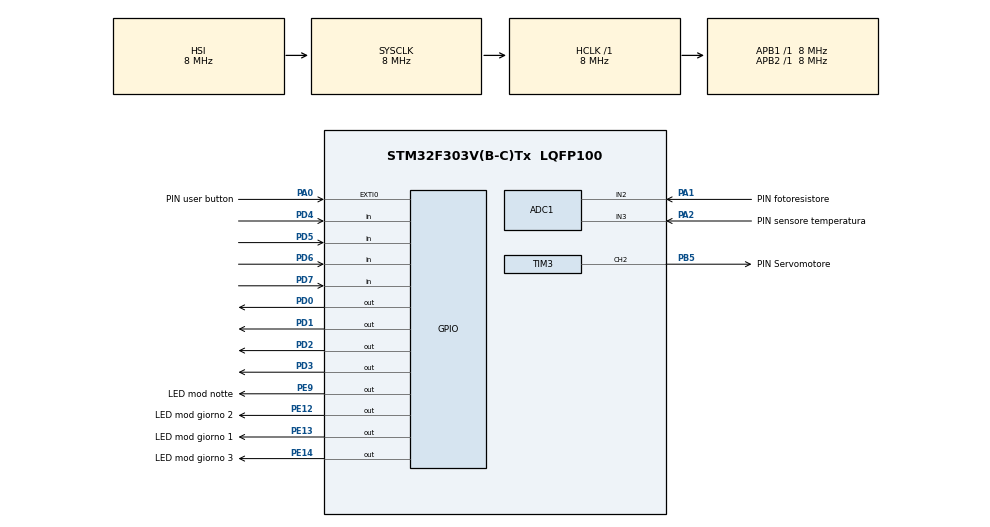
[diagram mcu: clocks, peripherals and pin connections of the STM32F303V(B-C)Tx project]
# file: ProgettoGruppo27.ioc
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ADC1.Channel-0\#ChannelRegularConversion=ADC_CHANNEL_2
ADC1.NbrOfConversionFlag=1
ADC1.Offset-0\#ChannelRegularConversion=0
ADC1.OffsetNumber-0\#ChannelRegularConversion=ADC_OFFSET_NONE
ADC1.Rank-0\#ChannelRegularConversion=1
ADC1.SamplingTime-0\#ChannelRegularConversion=ADC_SAMPLETIME_1CYCLE_5
ADC1.master=1
Mcu.Family=STM32F3
Mcu.Name=STM32F303V(B-C)Tx
Mcu.Package=LQFP100
NVIC.EXTI0_IRQn=true\:0\:0\:false\:false\:true\:true\:true\:true
NVIC.PriorityGroup=NVIC_PRIORITYGROUP_4
PA0.GPIO_Label=PIN user button
PA0.GPIO_ModeDefaultEXTI=GPIO_MODE_IT_RISING
PA0.Signal=GPXTI0
PA1.GPIO_Label=PIN fotoresistore
PA1.Mode=IN2-Single-Ended
PA1.Signal=ADC1_IN2
PA2.GPIO_Label=PIN sensore temperatura
PA2.Mode=IN3-Single-Ended
PA2.Signal=ADC1_IN3
PB5.GPIO_Label=PIN Servomotore
PB5.Signal=S_TIM3_CH2
PD0.PinState=GPIO_PIN_SET
PD0.Signal=GPIO_Output
PD1.PinState=GPIO_PIN_SET
PD1.Signal=GPIO_Output
PD2.PinState=GPIO_PIN_SET
PD2.Signal=GPIO_Output
PD3.PinState=GPIO_PIN_SET
PD3.Signal=GPIO_Output
PD4.GPIO_PuPd=GPIO_PULLUP
PD4.Signal=GPIO_Input
PD5.GPIO_PuPd=GPIO_PULLUP
PD5.Signal=GPIO_Input
PD6.GPIO_PuPd=GPIO_PULLUP
PD6.Signal=GPIO_Input
PD7.GPIO_PuPd=GPIO_PULLUP
PD7.Signal=GPIO_Input
PE12.GPIO_Label=LED mod giorno 2
PE12.Signal=GPIO_Output
PE13.GPIO_Label=LED mod giorno 1
PE13.Signal=GPIO_Output
PE14.GPIO_Label=LED mod giorno 3
PE14.Signal=GPIO_Output
PE9.GPIO_Label=LED mod notte
PE9.PinState=GPIO_PIN_SET
PE9.Signal=GPIO_Output
ProjectManager.HeapSize=0x200
ProjectManager.StackSize=0x400
ProjectManager.TargetToolchain=STM32CubeIDE
RCC.AHBFreq_Value=8000000
RCC.APB1Freq_Value=8000000
RCC.APB2Freq_Value=8000000
RCC.CortexFreq_Value=8000000
RCC.HSE_VALUE=8000000
RCC.HSI_VALUE=8000000
RCC.LSE_VALUE=32768
RCC.PLLMUL=RCC_PLL_MUL4
RCC.SYSCLKFreq_VALUE=8000000
RCC.USBFreq_Value=16000000
SH.S_TIM3_CH2.0=TIM3_CH2,PWM Generation2 CH2
TIM3.Channel-PWM\ Generation2\ CH2=TIM_CHANNEL_2
TIM3.Period=1999
TIM3.Prescaler=79
VP_TIM3_VS_ClockSourceINT.Mode=Internal
board=custom

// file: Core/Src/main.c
/* USER CODE BEGIN Header */
/**
  ******************************************************************************
  * @file           : main.c
  * @brief          : Main program body
  ******************************************************************************
  * @attention
  *
  * Copyright (c) 2026 STMicroelectronics.
  * All rights reserved.
  *
  * This software is licensed under terms that can be found in the LICENSE file
  * in the root directory of this software component.
  * If no LICENSE file comes with this software, it is provided AS-IS.
  *
  ******************************************************************************
  */
/* USER CODE END Header */
#include "main.h"

/* USER CODE BEGIN Includes */
#include "stdio.h"
#include "math.h"
/* USER CODE END Includes */

ADC_HandleTypeDef hadc1;

TIM_HandleTypeDef htim3;

/* USER CODE BEGIN PV */
uint32_t valore_luce = 0;
uint32_t valore_temperatura = 0;
float temperatura_celsius = 0.0f;
float valore_celsius = 0.0f;

// La variabile "stato" deve essere 'volatile' perché viene modificata asincronamente dall'interrupt
volatile uint8_t stato = 0;
/* USER CODE END PV */

void SystemClock_Config(void);
static void MX_GPIO_Init(void);
static void MX_ADC1_Init(void);
static void MX_TIM3_Init(void);
/* USER CODE BEGIN PFP */
void ADC_Select_Channel(uint32_t channel);
char Scansiona_Tastierino(void);
/* USER CODE END PFP */

int main(void)
{

  /* MCU Configuration--------------------------------------------------------*/

  /* Reset of all peripherals, Initializes the Flash interface and the Systick. */
  HAL_Init();

  /* Configure the system clock */
  SystemClock_Config();

  /* Initialize all configured peripherals */
  MX_GPIO_Init();
  MX_ADC1_Init();
  MX_TIM3_Init();
  /* USER CODE BEGIN 2 */
  HAL_TIM_PWM_Start(&htim3, TIM_CHANNEL_2);

  uint32_t tick_precedente_sensori = 0;
  uint32_t tick_precedente_tastierino = 0;

  char tasto_rilevato = '\0';
  /* USER CODE END 2 */

  /* Infinite loop */
  /* USER CODE BEGIN WHILE */
  while (1)
  {
      uint32_t tick_attuale = HAL_GetTick();

      // ====================================================================
      // LETTURA SENSORI OGNI 500ms)
      // ====================================================================
      if (tick_attuale - tick_precedente_sensori >= 500)
      {
          tick_precedente_sensori = tick_attuale;

          //Lettura del fotoresistore (Canale 2 su PA1)
          ADC_Select_Channel(ADC_CHANNEL_2);
          HAL_ADC_Start(&hadc1);
          HAL_ADC_PollForConversion(&hadc1, 10);
          valore_luce = HAL_ADC_GetValue(&hadc1);
          HAL_ADC_Stop(&hadc1);

          //Lettura del sensore di temperatura (Canale 3 su PA2)
          ADC_Select_Channel(ADC_CHANNEL_3);
          HAL_ADC_Start(&hadc1);
          HAL_ADC_PollForConversion(&hadc1, 10);
          valore_temperatura = HAL_ADC_GetValue(&hadc1);
          HAL_ADC_Stop(&hadc1);

          //Conversione della temperatura
          if (valore_temperatura > 0 && valore_temperatura < 4095)
          {
              float resistenza = 47000.0f * ((float)valore_temperatura / (4095.0f - (float)valore_temperatura));
              float log_resistenza = logf(resistenza / 10000.0f);
              float kelvin = 1.0f / ((1.0f / 298.15f) + (log_resistenza / 3950.0f));
              temperatura_celsius = kelvin - 273.15f;
          }
          else if (valore_temperatura == 0)
          {
              temperatura_celsius = 999.0f; // Errore sensore
          }
          else
          {
              temperatura_celsius = -273.15f; // Cavo scollegato
          }
      }

      // ====================================================================
      // GESTIONE AUTOMATICA (MOD 0)
      // ====================================================================
      if (stato == 0)
      {
          // Controllo LED basato sulla luce
          if (valore_luce > 1500)
          {
              HAL_GPIO_WritePin(GPIOE, LED_mod_notte_Pin, GPIO_PIN_SET);        // LED Nord Acceso (Spia Buio)
              HAL_GPIO_WritePin(GPIOE, LED_mod_giorno_1_Pin, GPIO_PIN_RESET);  // LED Sud Spento
              HAL_GPIO_WritePin(GPIOE, LED_mod_giorno_2_Pin, GPIO_PIN_RESET);  // LED Sud-Est Spento
              HAL_GPIO_WritePin(GPIOE, LED_mod_giorno_3_Pin, GPIO_PIN_RESET);  // LED Sud-Ovest Spento
          }
          else
          {
              HAL_GPIO_WritePin(GPIOE, LED_mod_notte_Pin, GPIO_PIN_RESET);     // LED Nord Spento
              HAL_GPIO_WritePin(GPIOE, LED_mod_giorno_1_Pin, GPIO_PIN_SET);    // LED Sud Acceso
              HAL_GPIO_WritePin(GPIOE, LED_mod_giorno_2_Pin, GPIO_PIN_SET);    // LED Sud-Est Acceso
              HAL_GPIO_WritePin(GPIOE, LED_mod_giorno_3_Pin, GPIO_PIN_SET);    // LED Sud-Ovest Acceso
          }

          // Controllo Climatizzazione basato sulla temperatura
          if (temperatura_celsius > 0 && temperatura_celsius < 27)
          {
              __HAL_TIM_SET_COMPARE(&htim3, TIM_CHANNEL_2, 200);   // Riscaldamento ON (Servo a 180°)
          }
          else if (temperatura_celsius > 30)
          {
              __HAL_TIM_SET_COMPARE(&htim3, TIM_CHANNEL_2, 100);   // Raffrescamento ON (Servo a 0°)
          }
      }
      // ====================================================================
      // GESTIONE MANUALE (MOD 1)
      // ====================================================================
      else
      {
          // Scansiona il tastierino ogni 50ms
          if (tick_attuale - tick_precedente_tastierino >= 50)
          {
              tick_precedente_tastierino = tick_attuale;
              tasto_rilevato = Scansiona_Tastierino();

              if (tasto_rilevato != '\0')
              {
                  switch (tasto_rilevato)
                  {
                      case '1': // Accende/Spegne LED Nord
                          HAL_GPIO_TogglePin(GPIOE, LED_mod_notte_Pin);
                          break;
                      case '2': // Accende/Spegne LED Sud
                          HAL_GPIO_TogglePin(GPIOE, LED_mod_giorno_1_Pin);
                          break;
                      case '3': // Accende/Spegne LED Sud-Est
                          HAL_GPIO_TogglePin(GPIOE, LED_mod_giorno_2_Pin);
                          break;
                      case '4': // Accende/Spegne LED Sud-Ovest
                          HAL_GPIO_TogglePin(GPIOE, LED_mod_giorno_3_Pin);
                          break;
                      case '5': // Spegne tutto
                          HAL_GPIO_WritePin(GPIOE, LED_mod_notte_Pin | LED_mod_giorno_1_Pin |
                                                   LED_mod_giorno_2_Pin | LED_mod_giorno_3_Pin, GPIO_PIN_RESET);
                          break;
                      case '6': // Accende tutto
                          HAL_GPIO_WritePin(GPIOE, LED_mod_notte_Pin | LED_mod_giorno_1_Pin |
                                                   LED_mod_giorno_2_Pin | LED_mod_giorno_3_Pin, GPIO_PIN_SET);
                          break;
                      case '7': // accnedi climatizzatore CALDO
                          __HAL_TIM_SET_COMPARE(&htim3, TIM_CHANNEL_2, 100);
                          break;
                      case '9': // accendi climatizzatore FREDDO
                          __HAL_TIM_SET_COMPARE(&htim3, TIM_CHANNEL_2, 200);
                          break;
                      default:
                          break;
                  }
              }
          }
      }
  }
  /* USER CODE END WHILE */

}

void SystemClock_Config(void)
{
  RCC_OscInitTypeDef RCC_OscInitStruct = {0};
  RCC_ClkInitTypeDef RCC_ClkInitStruct = {0};
  RCC_PeriphCLKInitTypeDef PeriphClkInit = {0};

  /** Initializes the RCC Oscillators according to the specified parameters
  * in the RCC_OscInitTypeDef structure.
  */
  RCC_OscInitStruct.OscillatorType = RCC_OSCILLATORTYPE_HSI;
  RCC_OscInitStruct.HSIState = RCC_HSI_ON;
  RCC_OscInitStruct.HSICalibrationValue = RCC_HSICALIBRATION_DEFAULT;
  RCC_OscInitStruct.PLL.PLLState = RCC_PLL_ON;
  RCC_OscInitStruct.PLL.PLLSource = RCC_PLLSOURCE_HSI;
  RCC_OscInitStruct.PLL.PLLMUL = RCC_PLL_MUL4;
  if (HAL_RCC_OscConfig(&RCC_OscInitStruct) != HAL_OK)
  {
    Error_Handler();
  }

  /** Initializes the CPU, AHB and APB buses clocks
  */
  RCC_ClkInitStruct.ClockType = RCC_CLOCKTYPE_HCLK|RCC_CLOCKTYPE_SYSCLK
                              |RCC_CLOCKTYPE_PCLK1|RCC_CLOCKTYPE_PCLK2;
  RCC_ClkInitStruct.SYSCLKSource = RCC_SYSCLKSOURCE_HSI;
  RCC_ClkInitStruct.AHBCLKDivider = RCC_SYSCLK_DIV1;
  RCC_ClkInitStruct.APB1CLKDivider = RCC_HCLK_DIV1;
  RCC_ClkInitStruct.APB2CLKDivider = RCC_HCLK_DIV1;

  if (HAL_RCC_ClockConfig(&RCC_ClkInitStruct, FLASH_LATENCY_0) != HAL_OK)
  {
    Error_Handler();
  }
  PeriphClkInit.PeriphClockSelection = RCC_PERIPHCLK_ADC12;
  PeriphClkInit.Adc12ClockSelection = RCC_ADC12PLLCLK_DIV1;
  if (HAL_RCCEx_PeriphCLKConfig(&PeriphClkInit) != HAL_OK)
  {
    Error_Handler();
  }
}

static void MX_ADC1_Init(void)
{

  ADC_MultiModeTypeDef multimode = {0};
  ADC_ChannelConfTypeDef sConfig = {0};

  /** Common config
  */
  hadc1.Instance = ADC1;
  hadc1.Init.ClockPrescaler = ADC_CLOCK_ASYNC_DIV1;
  hadc1.Init.Resolution = ADC_RESOLUTION_12B;
  hadc1.Init.ScanConvMode = ADC_SCAN_DISABLE;
  hadc1.Init.ContinuousConvMode = DISABLE;
  hadc1.Init.DiscontinuousConvMode = DISABLE;
  hadc1.Init.ExternalTrigConvEdge = ADC_EXTERNALTRIGCONVEDGE_NONE;
  hadc1.Init.ExternalTrigConv = ADC_SOFTWARE_START;
  hadc1.Init.DataAlign = ADC_DATAALIGN_RIGHT;
  hadc1.Init.NbrOfConversion = 1;
  hadc1.Init.DMAContinuousRequests = DISABLE;
  hadc1.Init.EOCSelection = ADC_EOC_SINGLE_CONV;
  hadc1.Init.LowPowerAutoWait = DISABLE;
  hadc1.Init.Overrun = ADC_OVR_DATA_OVERWRITTEN;
  if (HAL_ADC_Init(&hadc1) != HAL_OK)
  {
    Error_Handler();
  }

  /** Configure the ADC multi-mode
  */
  multimode.Mode = ADC_MODE_INDEPENDENT;
  if (HAL_ADCEx_MultiModeConfigChannel(&hadc1, &multimode) != HAL_OK)
  {
    Error_Handler();
  }

  /** Configure Regular Channel
  */
  sConfig.Channel = ADC_CHANNEL_2;
  sConfig.Rank = ADC_REGULAR_RANK_1;
  sConfig.SingleDiff = ADC_SINGLE_ENDED;
  sConfig.SamplingTime = ADC_SAMPLETIME_601CYCLES_5;
  sConfig.OffsetNumber = ADC_OFFSET_NONE;
  sConfig.Offset = 0;
  if (HAL_ADC_ConfigChannel(&hadc1, &sConfig) != HAL_OK)
  {
    Error_Handler();
  }

}

static void MX_TIM3_Init(void)
{

  TIM_ClockConfigTypeDef sClockSourceConfig = {0};
  TIM_MasterConfigTypeDef sMasterConfig = {0};
  TIM_OC_InitTypeDef sConfigOC = {0};

  htim3.Instance = TIM3;
  htim3.Init.Prescaler = 79;
  htim3.Init.CounterMode = TIM_COUNTERMODE_UP;
  htim3.Init.Period = 1999;
  htim3.Init.ClockDivision = TIM_CLOCKDIVISION_DIV1;
  htim3.Init.AutoReloadPreload = TIM_AUTORELOAD_PRELOAD_DISABLE;
  if (HAL_TIM_Base_Init(&htim3) != HAL_OK)
  {
    Error_Handler();
  }
  sClockSourceConfig.ClockSource = TIM_CLOCKSOURCE_INTERNAL;
  if (HAL_TIM_ConfigClockSource(&htim3, &sClockSourceConfig) != HAL_OK)
  {
    Error_Handler();
  }
  if (HAL_TIM_PWM_Init(&htim3) != HAL_OK)
  {
    Error_Handler();
  }
  sMasterConfig.MasterOutputTrigger = TIM_TRGO_RESET;
  sMasterConfig.MasterSlaveMode = TIM_MASTERSLAVEMODE_DISABLE;
  if (HAL_TIMEx_MasterConfigSynchronization(&htim3, &sMasterConfig) != HAL_OK)
  {
    Error_Handler();
  }
  sConfigOC.OCMode = TIM_OCMODE_PWM1;
  sConfigOC.Pulse = 0;
  sConfigOC.OCPolarity = TIM_OCPOLARITY_HIGH;
  sConfigOC.OCFastMode = TIM_OCFAST_DISABLE;
  if (HAL_TIM_PWM_ConfigChannel(&htim3, &sConfigOC, TIM_CHANNEL_2) != HAL_OK)
  {
    Error_Handler();
  }
  HAL_TIM_MspPostInit(&htim3);

}

static void MX_GPIO_Init(void)
{
  GPIO_InitTypeDef GPIO_InitStruct = {0};

  /* GPIO Ports Clock Enable */
  __HAL_RCC_GPIOA_CLK_ENABLE();
  __HAL_RCC_GPIOE_CLK_ENABLE();
  __HAL_RCC_GPIOB_CLK_ENABLE();
  __HAL_RCC_GPIOD_CLK_ENABLE(); // Abilita il clock per PORT D

  /*Configure GPIO pin Output Level per tutti i LED utilizzati su GPIOE */
  HAL_GPIO_WritePin(GPIOE, LED_mod_notte_Pin|LED_mod_giorno_1_Pin|LED_mod_giorno_2_Pin|LED_mod_giorno_3_Pin, GPIO_PIN_RESET);

  /*Configure GPIO pin Output Level per le righe del tastierino (Inizializzate a HIGH) */
  HAL_GPIO_WritePin(GPIOD, GPIO_PIN_0|GPIO_PIN_1|GPIO_PIN_2|GPIO_PIN_3, GPIO_PIN_SET);

  /*Configure GPIO pin : PA0 (PIN_user_button_Pin) come ingresso con Interrupt (EXTI) */
  GPIO_InitStruct.Pin = PIN_user_button_Pin;
  GPIO_InitStruct.Mode = GPIO_MODE_IT_RISING; // Configurato per scattare sul fronte di salita
  GPIO_InitStruct.Pull = GPIO_NOPULL;
  HAL_GPIO_Init(PIN_user_button_GPIO_Port, &GPIO_InitStruct);

  /*Configure GPIO pins LED su GPIOE : LED_mod_notte_Pin, LED_mod_giorno_1_Pin, LED_mod_giorno_2_Pin, LED_mod_giorno_3_Pin */
  GPIO_InitStruct.Pin = LED_mod_notte_Pin|LED_mod_giorno_1_Pin|LED_mod_giorno_2_Pin|LED_mod_giorno_3_Pin;
  GPIO_InitStruct.Mode = GPIO_MODE_OUTPUT_PP;
  GPIO_InitStruct.Pull = GPIO_NOPULL;
  GPIO_InitStruct.Speed = GPIO_SPEED_FREQ_LOW;
  HAL_GPIO_Init(GPIOE, &GPIO_InitStruct);

  /*Configure GPIO pins Righe Tastierino su PORT D : PD0, PD1, PD2, PD3 */
  GPIO_InitStruct.Pin = GPIO_PIN_0|GPIO_PIN_1|GPIO_PIN_2|GPIO_PIN_3;
  GPIO_InitStruct.Mode = GPIO_MODE_OUTPUT_PP;
  GPIO_InitStruct.Pull = GPIO_NOPULL;
  GPIO_InitStruct.Speed = GPIO_SPEED_FREQ_LOW;
  HAL_GPIO_Init(GPIOD, &GPIO_InitStruct);

  /*Configure GPIO pins Colonne Tastierino su PORT D : PD4, PD5, PD6, PD7 */
  GPIO_InitStruct.Pin = GPIO_PIN_4|GPIO_PIN_5|GPIO_PIN_6|GPIO_PIN_7;
  GPIO_InitStruct.Mode = GPIO_MODE_INPUT;
  GPIO_InitStruct.Pull = GPIO_PULLUP; // Forza lo stato HIGH quando nessun tasto è premuto
  HAL_GPIO_Init(GPIOD, &GPIO_InitStruct);

  /* Abilitazione dell'interrupt nel controller NVIC */
  HAL_NVIC_SetPriority(EXTI0_IRQn, 0, 0);
  HAL_NVIC_EnableIRQ(EXTI0_IRQn);

}

/* USER CODE BEGIN 4 */
/**
  * @brief  Modifica dinamicamente il canale attivo di ADC1.
  * @param  channel: Canale ADC da attivare (es. ADC_CHANNEL_2 o ADC_CHANNEL_3)
  * @retval None
  */
void ADC_Select_Channel(uint32_t channel)
{
    ADC_ChannelConfTypeDef sConfig = {0};
    sConfig.Channel = channel;
    sConfig.Rank = ADC_REGULAR_RANK_1;
    sConfig.SingleDiff = ADC_SINGLE_ENDED;
    sConfig.SamplingTime = ADC_SAMPLETIME_601CYCLES_5;
    sConfig.OffsetNumber = ADC_OFFSET_NONE;
    sConfig.Offset = 0;
    if (HAL_ADC_ConfigChannel(&hadc1, &sConfig) != HAL_OK)
    {
        Error_Handler();
    }
}

/**
  * @brief  Esegue la scansione a matrice del tastierino a 16 tasti (4x4).
  *         I pin PD0-PD3 sono righe (Output), PD4-PD7 sono colonne (Input Pull-Up).
  * @retval char: Carattere del tasto premuto, oppure '\0' se nessun tasto è premuto.
  */
char Scansiona_Tastierino(void)
{
    char mappa[4][4] = {
        {'1', '2', '3', 'A'},
        {'4', '5', '6', 'B'},
        {'7', '8', '9', 'C'},
        {'*', '0', '#', 'D'}
    };
    uint16_t righe_pins[4] = {GPIO_PIN_0, GPIO_PIN_1, GPIO_PIN_2, GPIO_PIN_3};
    uint16_t col_pins[4] = {GPIO_PIN_4, GPIO_PIN_5, GPIO_PIN_6, GPIO_PIN_7};

    static char ultimo_tasto = '\0';
    char tasto_corrente = '\0';

    // Ripristina tutte le righe a HIGH prima di scansionare
    for (int r = 0; r < 4; r++) {
        HAL_GPIO_WritePin(GPIOD, righe_pins[r], GPIO_PIN_SET);
    }

    for (int r = 0; r < 4; r++)
    {
        // Abbassa la riga corrente a LOW
        HAL_GPIO_WritePin(GPIOD, righe_pins[r], GPIO_PIN_RESET);

        // Breve ritardo software per stabilizzare le capacità parassite delle linee
        for (volatile int i = 0; i < 15; i++);

        for (int c = 0; c < 4; c++)
        {
            // Se la colonna associata scende a LOW, il tasto è premuto
            if (HAL_GPIO_ReadPin(GPIOD, col_pins[c]) == GPIO_PIN_RESET)
            {
                tasto_corrente = mappa[r][c];
            }
        }

        // Riporta la riga corrente a HIGH prima di passare alla prossima
        HAL_GPIO_WritePin(GPIOD, righe_pins[r], GPIO_PIN_SET);
    }

    // Logica Edge-Trigger: restituisce il tasto solo al cambio di stato (pressione singola)
    if (tasto_corrente != ultimo_tasto)
    {
        ultimo_tasto = tasto_corrente;
        return tasto_corrente;
    }

    return '\0';
}

/**
  * @brief  Funzione di Callback eseguita dall'hardware ad ogni interrupt GPIO.
  * @param  GPIO_Pin: Il pin che ha scatenato l'interrupt
  * @retval None
  */
void HAL_GPIO_EXTI_Callback(uint16_t GPIO_Pin)
{
    static uint32_t tempo_ultimo_interrupt = 0;
    uint32_t tempo_attuale = HAL_GetTick();

    // Controlla che l'evento sia generato dal pin del pulsante user
    if (GPIO_Pin == PIN_user_button_Pin)
    {
        // Antirimbalzo
        if (tempo_attuale - tempo_ultimo_interrupt > 250)
        {
            stato = !stato; // Inverte lo stato
        }
        tempo_ultimo_interrupt = tempo_attuale;
    }
}
/* USER CODE END 4 */

void Error_Handler(void)
{
  __disable_irq();
  while (1)
  {
  }
}
